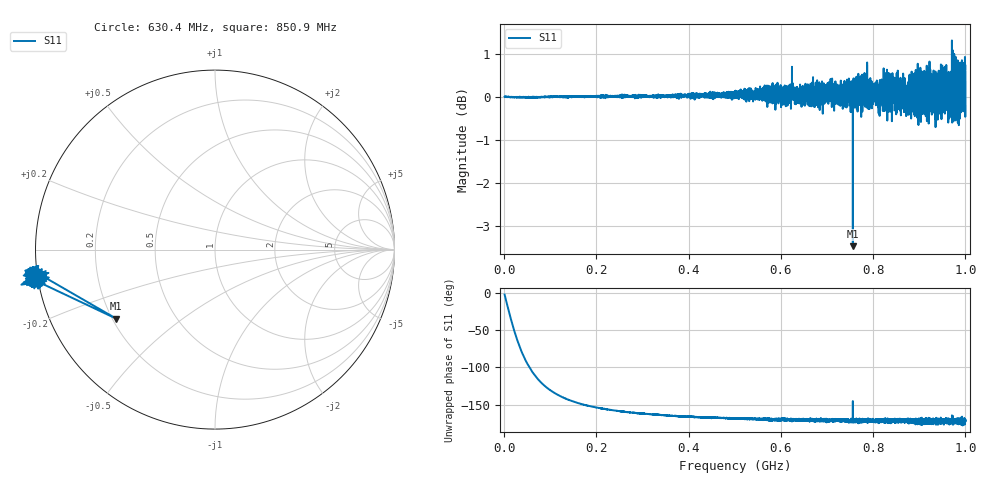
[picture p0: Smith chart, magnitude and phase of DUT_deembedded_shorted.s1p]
! ListType=Lin
!Created with skrf (http://scikit-rf.org).
# MHz S RI R 50.0
!freq ReS11 ImS11
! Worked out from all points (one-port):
!   8001 points, 1 MHz to 1 GHz, reference 50 ohm
!   lowest |S11| = -3.5 dB at 756 MHz (marker M1), VSWR 5.08, Z = 10.8 - j15.1 ohm
!   |S11| at or under -10 dB: nowhere
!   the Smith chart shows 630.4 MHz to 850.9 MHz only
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1  0.9997 -0.044
4.371625  0.9821 -0.189
10.24075  0.9055 -0.4244
15.86013  0.787 -0.6171
21.22975  0.6474 -0.7605
29.59637  0.4145 -0.9097
38.962  0.1642 -0.9858
47.4535  -0.0306 -0.9987
56.19475  -0.1969 -0.9798
65.18575  -0.3342 -0.9422
75.05088  -0.4527 -0.8916
85.54037  -0.5499 -0.8357
97.77813  -0.636 -0.7723
125.875  -0.7619 -0.6464
149.9759  -0.8253 -0.5642
178.1976  -0.8711 -0.4903
250.75  -0.9313 -0.3646
375.625  -0.9713 -0.2577
500.5  -0.9931 -0.2138
625.375  -0.9858 -0.166
750.25  -0.999 -0.1293
755.9942  -0.5496 -0.3851
875.125  -0.9993 -0.1295
939.5605  -1.044 -0.1536
956.7932  -0.9968 -0.1051
985.7642  -0.9235 -0.0826
995.005  -1.017 -0.1761
1000  -1.076 -0.1525
